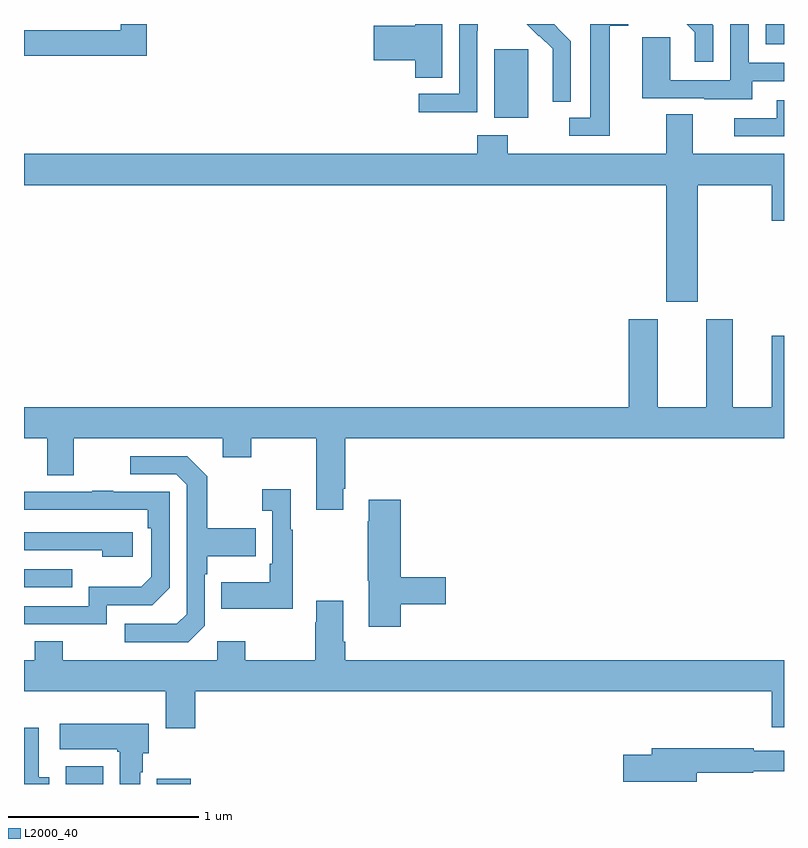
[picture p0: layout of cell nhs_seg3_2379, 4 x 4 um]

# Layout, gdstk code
import gdstk
lib = gdstk.Library(unit=1e-6, precision=1e-09)
def R(c, l, rs):  # rectangles x0, y0, x1, y1
    for r in rs: c.add(gdstk.rectangle(r[:2], r[2:], *l))
def P(c, l, *ps):  # polygons
    for p in ps: c.add(gdstk.Polygon(p, *l))
L2000_40 = (2000, 40)

nhs_seg3_2379 = lib.new_cell('nhs_seg3_2379')
R(nhs_seg3_2379, L2000_40, [(233.219,728.4,233.416,728.494), (233.699,728.4,233.878,728.428), (233,729.435,233.255,729.531), (235.475,731.906,235.654,732.267), (236.904,732.294,237,732.4)])
P(nhs_seg3_2379, L2000_40, [(235.201,732.4),(235.058,732.4),(235.058,732.392),(234.84,732.392),(234.84,732.209),(235.058,732.209),(235.058,732.118),(235.201,732.118)],
  [(233.645,732.4),(233.509,732.4),(233.509,732.368),(233,732.368),(233,732.232),(233.645,732.232)],
  [(236.628,732.394),(236.622,732.4),(236.488,732.4),(236.531,732.357),(236.531,732.201),(236.628,732.201)],
  [(236.833,732.099),(237,732.099),(237,732.195),(236.814,732.195),(236.814,732.4),(236.718,732.4),(236.718,732.105),(236.4,732.105),(236.4,732.329),(236.255,732.329),(236.255,732.009),(236.579,732.009),(236.579,732.005),(236.833,732.005)],
  [(235.386,732.364),(235.389,732.364),(235.389,732.4),(235.29,732.4),(235.29,732.033),(235.077,732.033),(235.077,731.935),(235.386,731.935)],
  [(235.878,732.31),(235.805,732.383),(235.806,732.384),(235.79,732.4),(235.646,732.4),(235.71,732.336),(235.713,732.339),(235.784,732.269),(235.784,732.146),(235.782,732.146),(235.782,731.992),(235.878,731.992)],
  [(236.083,732.392),(236.179,732.392),(236.179,732.4),(235.979,732.4),(235.979,731.907),(235.869,731.907),(235.869,731.811),(236.083,731.811)],
  [(237,732),(236.963,732),(236.963,731.904),(236.739,731.904),(236.739,731.808),(237,731.808)],
  [(236.545,731.552),(236.936,731.552),(236.936,731.364),(237,731.364),(237,731.716),(236.521,731.716),(236.521,731.924),(236.381,731.924),(236.381,731.716),(235.545,731.716),(235.545,731.815),(235.385,731.815),(235.385,731.716),(233,731.716),(233,731.552),(236.381,731.552),(236.381,730.938),(236.545,730.938)],
  [(234.679,729.955),(234.692,729.955),(234.692,730.22),(237,730.22),(237,730.759),(236.936,730.759),(236.936,730.384),(236.731,730.384),(236.731,730.846),(236.591,730.846),(236.591,730.384),(236.335,730.384),(236.335,730.846),(236.183,730.846),(236.183,730.384),(233,730.384),(233,730.22),(233.123,730.22),(233.123,730.026),(233.263,730.026),(233.263,730.22),(234.047,730.22),(234.047,730.121),(234.195,730.121),(234.195,730.22),(234.539,730.22),(234.539,729.843),(234.679,729.843)],
  [(233.952,729.234),(233.952,729.503),(233.965,729.503),(233.965,729.599),(234.221,729.599),(234.221,729.747),(233.965,729.747),(233.965,730.019),(233.859,730.125),(233.559,730.125),(233.559,730.029),(233.802,730.029),(233.856,729.975),(233.856,729.294),(233.805,729.243),(233.529,729.243),(233.529,729.147),(233.865,729.147)],
  [(234.415,729.739),(234.403,729.739),(234.403,729.952),(234.255,729.952),(234.255,729.839),(234.306,729.839),(234.306,729.559),(234.294,729.559),(234.294,729.463),(234.037,729.463),(234.037,729.323),(234.415,729.323)],
  [(233.436,729.342),(233.676,729.342),(233.766,729.432),(233.766,729.939),(233.471,729.939),(233.471,729.944),(233.359,729.944),(233.359,729.939),(233,729.939),(233,729.843),(233.65,729.843),(233.65,729.746),(233.67,729.746),(233.67,729.492),(233.617,729.439),(233.34,729.439),(233.34,729.336),(233,729.336),(233,729.24),(233.436,729.24)],
  [(234.983,729.346),(235.219,729.346),(235.219,729.488),(234.983,729.488),(234.983,729.895),(234.815,729.895),(234.815,729.782),(234.808,729.782),(234.808,729.471),(234.815,729.471),(234.815,729.228),(234.983,729.228)],
  [(233.572,729.726),(233,729.726),(233,729.63),(233.411,729.63),(233.411,729.596),(233.572,729.596)],
  [(233.9,728.888),(236.936,728.888),(236.936,728.7),(237,728.7),(237,729.052),(234.692,729.052),(234.692,729.148),(234.679,729.148),(234.679,729.364),(234.539,729.364),(234.539,729.251),(234.532,729.251),(234.532,729.052),(234.165,729.052),(234.165,729.151),(234.018,729.151),(234.018,729.052),(233.205,729.052),(233.205,729.151),(233.057,729.151),(233.057,729.052),(233,729.052),(233,728.888),(233.747,728.888),(233.747,728.694),(233.9,728.694)],
  [(233.611,728.462),(233.626,728.462),(233.626,728.562),(233.656,728.562),(233.656,728.716),(233.187,728.716),(233.187,728.582),(233.491,728.582),(233.491,728.569),(233.504,728.569),(233.504,728.4),(233.611,728.4)],
  [(233.134,728.436),(233.077,728.436),(233.077,728.695),(233,728.695),(233,728.4),(233.134,728.4)],
  [(236.542,728.458),(236.838,728.458),(236.838,728.466),(237,728.466),(237,728.574),(236.84,728.574),(236.84,728.587),(236.303,728.587),(236.303,728.553),(236.154,728.553),(236.154,728.411),(236.542,728.411)])

lib.write_gds('nhs_seg3_2379.gds')
